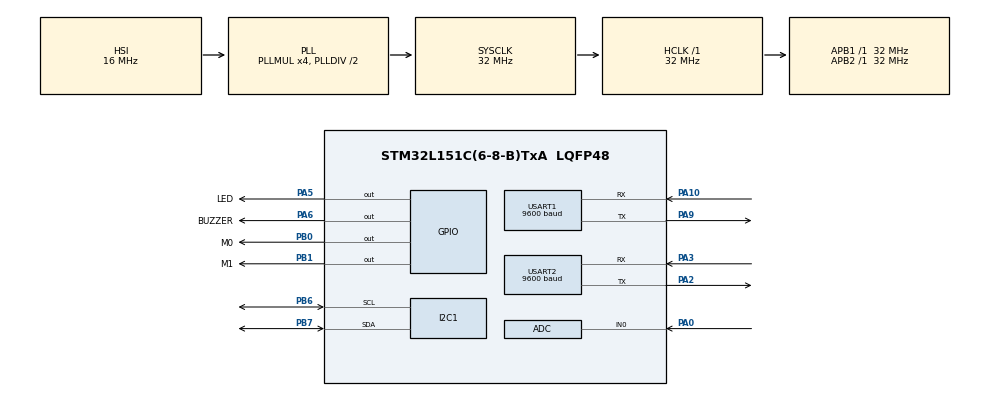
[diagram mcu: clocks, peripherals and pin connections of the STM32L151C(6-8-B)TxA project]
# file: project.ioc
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ADC.Channel-0\#ChannelRegularConversion=ADC_CHANNEL_0
ADC.NbrOfConversionFlag=1
ADC.Rank-0\#ChannelRegularConversion=1
ADC.SamplingTime-0\#ChannelRegularConversion=ADC_SAMPLETIME_4CYCLES
I2C1.I2C_Mode=I2C_Fast
Mcu.Family=STM32L1
Mcu.Name=STM32L151C(6-8-B)TxA
Mcu.Package=LQFP48
NVIC.ADC1_IRQn=true\:0\:0\:false\:false\:true\:true\:true\:true
NVIC.I2C1_ER_IRQn=true\:0\:0\:false\:false\:true\:true\:true\:true
NVIC.I2C1_EV_IRQn=true\:0\:0\:false\:false\:true\:true\:true\:true
NVIC.PriorityGroup=NVIC_PRIORITYGROUP_4
NVIC.TIM2_IRQn=true\:0\:0\:false\:false\:true\:true\:true\:true
NVIC.USART1_IRQn=true\:0\:0\:false\:false\:true\:true\:true\:true
NVIC.USART2_IRQn=true\:0\:0\:false\:false\:true\:true\:true\:true
PA0-WKUP1.Mode=IN0
PA0-WKUP1.Signal=ADC_IN0
PA10.Mode=Asynchronous
PA10.Signal=USART1_RX
PA13.Mode=Serial_Wire
PA13.Signal=SYS_JTMS-SWDIO
PA14.Mode=Serial_Wire
PA14.Signal=SYS_JTCK-SWCLK
PA2.Mode=Asynchronous
PA2.Signal=USART2_TX
PA3.Mode=Asynchronous
PA3.Signal=USART2_RX
PA5.GPIO_Label=LED
PA5.Signal=GPIO_Output
PA6.GPIO_Label=BUZZER
PA6.Signal=GPIO_Output
PA9.Mode=Asynchronous
PA9.Signal=USART1_TX
PB0.GPIO_Label=M0
PB0.Signal=GPIO_Output
PB1.GPIO_Label=M1
PB1.Signal=GPIO_Output
PB6.Mode=I2C
PB6.Signal=I2C1_SCL
PB7.Mode=I2C
PB7.Signal=I2C1_SDA
PH0-OSC_IN.Mode=HSE-External-Oscillator
PH0-OSC_IN.Signal=RCC_OSC_IN
PH1-OSC_OUT.Mode=HSE-External-Oscillator
PH1-OSC_OUT.Signal=RCC_OSC_OUT
ProjectManager.HeapSize=0x200
ProjectManager.StackSize=0x400
ProjectManager.TargetToolchain=STM32CubeIDE
RCC.48MHZClocksFreq_Value=32000000
RCC.AHBFreq_Value=32000000
RCC.APB1Freq_Value=32000000
RCC.APB1TimFreq_Value=32000000
RCC.APB2Freq_Value=32000000
RCC.APB2TimFreq_Value=32000000
RCC.HCLKFreq_Value=32000000
RCC.HSE_VALUE=24000000
RCC.HSI_VALUE=16000000
RCC.LSE_VALUE=32768
RCC.MSI_VALUE=2097000
RCC.PLLMUL=RCC_PLL_MUL4
RCC.SYSCLKFreq_VALUE=32000000
RCC.SYSCLKSource=RCC_SYSCLKSOURCE_PLLCLK
RCC.VCOOutputFreq_Value=64000000
TIM2.Period=7
TIM2.Prescaler=3999
USART1.BaudRate=9600
USART1.VirtualMode=VM_ASYNC
USART2.BaudRate=9600
USART2.VirtualMode=VM_ASYNC
VP_TIM2_VS_ClockSourceINT.Mode=Internal
board=custom

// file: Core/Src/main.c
/* USER CODE BEGIN Header */
/**
  ******************************************************************************
  * @file           : main.c
  * @brief          : Main program body
  ******************************************************************************
  * @attention
  *
  * Copyright (c) 2024 STMicroelectronics.
  * All rights reserved.
  *
  * This software is licensed under terms that can be found in the LICENSE file
  * in the root directory of this software component.
  * If no LICENSE file comes with this software, it is provided AS-IS.
  *
  ******************************************************************************
  */
/* USER CODE END Header */
#include "main.h"

/* USER CODE BEGIN Includes */
#include "global.h"
#include "software_timer.h"
#include "scheduler.h"
#include "mpu6050.h"
#include "gps.h"
#include "fsm_start.h"
#include "fsm_find_device.h"
#include "fsm_control_buzzer.h"
#include "fsm_handle_data.h"
#include "fsm_send_data.h"
//#include "i2c.h"
/* USER CODE END Includes */

ADC_HandleTypeDef hadc;

I2C_HandleTypeDef hi2c1;

TIM_HandleTypeDef htim2;

UART_HandleTypeDef huart1;
UART_HandleTypeDef huart2;

void SystemClock_Config(void);
static void MX_GPIO_Init(void);
static void MX_ADC_Init(void);
static void MX_I2C1_Init(void);
static void MX_TIM2_Init(void);
static void MX_USART1_UART_Init(void);
static void MX_USART2_UART_Init(void);

/* USER CODE BEGIN 0 */

uint8_t		u8_flag_10ms = 0;
#define BUFFER_SIZE 512
char gpsBuffer[BUFFER_SIZE];
char gpggaBuffer[BUFFER_SIZE];
char gnvtgBuffer[BUFFER_SIZE];
char outputBuffer[BUFFER_SIZE];
//float latitude = 6.0, longitude = 6.0;
float longitude = 0;  // Ví dụ giá trị kinh độ
float latitude = 0;
float velocity = 0.2;
char id[6] = "010001";
void sendTestMessage() {
    char testMessage[] = "!Test message#\r\n";
    HAL_UART_Transmit(&huart1, (uint8_t*)testMessage, sizeof(testMessage), HAL_MAX_DELAY);
}
void sendTestMessage1() {
    char testMessage[] = "!aaaaaaaaaaaaa#\r\n";
    HAL_UART_Transmit(&huart1, (uint8_t*)testMessage, sizeof(testMessage), HAL_MAX_DELAY);
}

//void filterGNVTG(const char* input) {
//    const char* gnvtgStart = strstr(input, "$GNVTG"); // Tìm câu $GPGGA
//    if (gnvtgStart != NULL) {
//        const char* gnvtgEnd = strstr(gnvtgStart, "\r\n"); // Tìm dấu kết thúc câu
//        if (gnvtgEnd != NULL) {
//            size_t gnvtgLength = gnvtgEnd - gnvtgStart + 2; // �?ộ dài câu $GPGGA
//            strncpy(gnvtgBuffer, gnvtgStart, gnvtgLength); // Sao chép câu $GPGGA
//            gnvtgBuffer[gnvtgLength] = '\0'; // Thêm ký tự kết thúc chuỗi
//        }
//    }
//}

void filterGPGGA(const char* input) {
    const char* gpggaStart = strstr(input, "$GNGGA"); // Tìm câu $GPGGA
    if (gpggaStart != NULL) {
        const char* gpggaEnd = strstr(gpggaStart, "\r\n"); // Tìm dấu kết thúc câu
        if (gpggaEnd != NULL) {
            size_t gpggaLength = gpggaEnd - gpggaStart + 2; // �?ộ dài câu $GPGGA
            strncpy(gpggaBuffer, gpggaStart, gpggaLength); // Sao chép câu $GPGGA
            gpggaBuffer[gpggaLength] = '\0'; // Thêm ký tự kết thúc chuỗi
        }
    }
}

//void parseVData(char* nmea){
//	char* token;
//	token = strstr(nmea, "$GNVTG");
//	if (token != NULL){
//		token = strtok(token, ","); // B�? qua "$GNVTG"
//		token = strtok(NULL, ",");
//		token = strtok(NULL, ",");
//		token = strtok(NULL, ",");
//		token = strtok(NULL, ",");
//		token = strtok(NULL, ",");
//		token = strtok(NULL, ",");
//
//		if (token != NULL){
//			float speed = atof(token);
//			if (speed == 0) {
//				velocity = -1;
//			}else {
//			velocity = speed / 3.6f;
//			}
//		}
//	}
//
//
//}
void parseGPSData(char* nmea) {
    char* token;

    // Tìm chuỗi $GPGGA
    token = strstr(nmea, "$GNGGA");
//    token =  nmea;
    if (token != NULL) {
        token = strtok(token, ","); // B�? qua "$GPGGA"
        token = strtok(NULL, ","); // B�? qua th�?i gian
        token = strtok(NULL, ","); // Lấy giá trị vĩ độ (latitude)

        if (token != NULL) {
            float rawLatitude = atof(token); // Lấy giá trị DDMM.MMMM
            float degrees = (int)(rawLatitude / 100); // Lấy phần độ
            float minutes = rawLatitude - (degrees * 100); // Lấy phần phút
            latitude = degrees + (minutes / 60.0); // Chuyển sang decimal degrees

            token = strtok(NULL, ","); // Lấy hướng vĩ độ (N/S)
            if (token != NULL && *token == 'S') {
                latitude = -latitude; // Nếu là 'S', đổi sang giá trị âm
            }
        }

        token = strtok(NULL, ","); // Lấy giá trị kinh độ (longitude)
        if (token != NULL) {
            float rawLongitude = atof(token); // Lấy giá trị DDMM.MMMM
            float degrees = (int)(rawLongitude / 100); // Lấy phần độ
            float minutes = rawLongitude - (degrees * 100); // Lấy phần phút
            longitude = degrees + (minutes / 60.0); // Chuyển sang decimal degrees
            token = strtok(NULL, ","); // Lấy hướng kinh độ (E/W)

            if (token != NULL && *token == 'W') {
                longitude = -longitude; // Nếu là 'W', đổi sang giá trị âm
            }
        }
    }
}

void sendCoordinates() {
    if (latitude != 0.0 && longitude != 0.0) {
    	uint8_tToChar(id, id_device);
        snprintf(outputBuffer, sizeof(outputBuffer), "!ID:%s:GPS:%.6f:%.6f:V:%.4f#\r\n", id, longitude, latitude,velocity);
        HAL_UART_Transmit_IT(&huart1, (uint8_t*)outputBuffer, strlen(outputBuffer));
    } else {
        snprintf(outputBuffer, sizeof(outputBuffer), "!Invalid GPS Data#\r\n");
        HAL_UART_Transmit_IT(&huart1, (uint8_t*)outputBuffer, strlen(outputBuffer));
    }
    //memset(outputBuffer, 0, sizeof(outputBuffer));
}

void HAL_UART_RxCpltCallback(UART_HandleTypeDef *huart) {
	if(huart->Instance == USART1) {
		if (temp != 13) {
			if (buffer_index < MAX_BUFFER_SIZE - 1) {
				buffer[buffer_index++] = temp;
			} else {
				buffer_index = 0;
				buffer_flag = 1;
			}
		} else {
			buffer[buffer_index] = '\0';
			buffer_index = 0;
			buffer_flag = 1;
		}
		HAL_UART_Receive_IT(&huart1, &temp, 1);
	}
	if (huart->Instance == USART2) {
		filterGPGGA(gpsBuffer);
		parseGPSData(gpggaBuffer);

//		filterGNVTG(gpsBuffer);
//		parseVData(gnvtgBuffer);
//		sendCoordinates();
		HAL_UART_Receive_IT(&huart2, (uint8_t*)gpsBuffer, BUFFER_SIZE);
	}
}

void fsm_start_task(void) {
	fsm_start(&huart1, buffer);
}

void fsm_find_device_task(void) {
	fsm_find_device(&huart1);
}

void fsm_control_buzzer_task(void) {
	fsm_control_buzzer(&huart1);
}

void fsm_handle_data_task(void) {
	handleBatteryData(&hadc);
	handleSensorData(&hi2c1);
}

void fsm_send_data_task(void) {
	if (handle_data_flag == true) {
		send_data(&huart1);
	}
}

//MPU6050_t MPU6050;

//void handleSensorData(void) {
//	MPU6050_Read_All(&hi2c1, &MPU6050);
//	ax = MPU6050.Ax;
//	ay = MPU6050.Ay;
//	az = MPU6050.Az;
//	SENSOR_flag = false;
//}
//
//void handleBatteryData(void) {
//	ADC_value = HAL_ADC_GetValue(&hadc);
//    BATTERY_flag = false;
//}

/* USER CODE END 0 */

int main(void)
{

  /* MCU Configuration--------------------------------------------------------*/

  /* Reset of all peripherals, Initializes the Flash interface and the Systick. */
  HAL_Init();

  /* Configure the system clock */
  SystemClock_Config();

  /* Initialize all configured peripherals */
  MX_GPIO_Init();
  MX_ADC_Init();
  MX_I2C1_Init();
  MX_TIM2_Init();
  MX_USART1_UART_Init();
  MX_USART2_UART_Init();
  /* USER CODE BEGIN 2 */
  HAL_TIM_Base_Start_IT(&htim2);
  HAL_GPIO_WritePin(M0_GPIO_Port, M0_Pin, RESET);
  HAL_GPIO_WritePin(M1_GPIO_Port, M1_Pin, RESET);
  HAL_GPIO_WritePin(BUZZER_GPIO_Port, BUZZER_Pin, SET);
  HAL_GPIO_WritePin(LED_GPIO_Port, LED_Pin, SET);
  HAL_UART_Receive_IT(&huart1, &temp, 1);
  HAL_UART_Receive_IT(&huart2, (uint8_t*)gpsBuffer, BUFFER_SIZE);
  MPU6050_Init(&hi2c1);

  /* USER CODE END 2 */

  /* Infinite loop */
  /* USER CODE BEGIN WHILE */
  SCH_Add_Task(fsm_start_task, 1, 1);
  SCH_Add_Task(fsm_find_device_task, 2, 1);
  SCH_Add_Task(fsm_control_buzzer_task, 3, 1);
  SCH_Add_Task(fsm_handle_data_task, 5, 1);
//  SCH_Add_Task(fsm_send_data_task, 6, 10000);
  setTimer0(1000);
  setTimer1(5000);
  while (1)
  {
	  if (handle_GPS_data_flag == true) {
		  if (u8_flag_10ms){
			u8_flag_10ms = 0;
			parseGPSData(gpggaBuffer);
//			parseVData(gnvtgBuffer);
			sendCoordinates();
		  }
	  }
	  if (timer1_flag == 1) {
		  SENSOR_flag = true;
		  BATTERY_flag = true;
		  setTimer1(5000);
	  }

	  if (start_idle_flag) {
		  start_idle_flag = false;
		  SCH_Delete_Task(fsm_start_task);
	  }
	  SCH_Dispatch_Tasks();
    /* USER CODE END WHILE */

  }
}

void SystemClock_Config(void)
{
  RCC_OscInitTypeDef RCC_OscInitStruct = {0};
  RCC_ClkInitTypeDef RCC_ClkInitStruct = {0};

  /** Configure the main internal regulator output voltage
  */
  __HAL_PWR_VOLTAGESCALING_CONFIG(PWR_REGULATOR_VOLTAGE_SCALE1);

  /** Initializes the RCC Oscillators according to the specified parameters
  * in the RCC_OscInitTypeDef structure.
  */
  RCC_OscInitStruct.OscillatorType = RCC_OSCILLATORTYPE_HSI;
  RCC_OscInitStruct.HSIState = RCC_HSI_ON;
  RCC_OscInitStruct.HSICalibrationValue = RCC_HSICALIBRATION_DEFAULT;
  RCC_OscInitStruct.PLL.PLLState = RCC_PLL_ON;
  RCC_OscInitStruct.PLL.PLLSource = RCC_PLLSOURCE_HSI;
  RCC_OscInitStruct.PLL.PLLMUL = RCC_PLL_MUL4;
  RCC_OscInitStruct.PLL.PLLDIV = RCC_PLL_DIV2;
  if (HAL_RCC_OscConfig(&RCC_OscInitStruct) != HAL_OK)
  {
    Error_Handler();
  }

  /** Initializes the CPU, AHB and APB buses clocks
  */
  RCC_ClkInitStruct.ClockType = RCC_CLOCKTYPE_HCLK|RCC_CLOCKTYPE_SYSCLK
                              |RCC_CLOCKTYPE_PCLK1|RCC_CLOCKTYPE_PCLK2;
  RCC_ClkInitStruct.SYSCLKSource = RCC_SYSCLKSOURCE_PLLCLK;
  RCC_ClkInitStruct.AHBCLKDivider = RCC_SYSCLK_DIV1;
  RCC_ClkInitStruct.APB1CLKDivider = RCC_HCLK_DIV1;
  RCC_ClkInitStruct.APB2CLKDivider = RCC_HCLK_DIV1;

  if (HAL_RCC_ClockConfig(&RCC_ClkInitStruct, FLASH_LATENCY_1) != HAL_OK)
  {
    Error_Handler();
  }
}

static void MX_ADC_Init(void)
{

  ADC_ChannelConfTypeDef sConfig = {0};

  /** Configure the global features of the ADC (Clock, Resolution, Data Alignment and number of conversion)
  */
  hadc.Instance = ADC1;
  hadc.Init.ClockPrescaler = ADC_CLOCK_ASYNC_DIV1;
  hadc.Init.Resolution = ADC_RESOLUTION_12B;
  hadc.Init.DataAlign = ADC_DATAALIGN_RIGHT;
  hadc.Init.ScanConvMode = ADC_SCAN_DISABLE;
  hadc.Init.EOCSelection = ADC_EOC_SEQ_CONV;
  hadc.Init.LowPowerAutoWait = ADC_AUTOWAIT_DISABLE;
  hadc.Init.LowPowerAutoPowerOff = ADC_AUTOPOWEROFF_DISABLE;
  hadc.Init.ChannelsBank = ADC_CHANNELS_BANK_A;
  hadc.Init.ContinuousConvMode = DISABLE;
  hadc.Init.NbrOfConversion = 1;
  hadc.Init.DiscontinuousConvMode = DISABLE;
  hadc.Init.ExternalTrigConv = ADC_SOFTWARE_START;
  hadc.Init.ExternalTrigConvEdge = ADC_EXTERNALTRIGCONVEDGE_NONE;
  hadc.Init.DMAContinuousRequests = DISABLE;
  if (HAL_ADC_Init(&hadc) != HAL_OK)
  {
    Error_Handler();
  }

  /** Configure for the selected ADC regular channel its corresponding rank in the sequencer and its sample time.
  */
  sConfig.Channel = ADC_CHANNEL_0;
  sConfig.Rank = ADC_REGULAR_RANK_1;
  sConfig.SamplingTime = ADC_SAMPLETIME_4CYCLES;
  if (HAL_ADC_ConfigChannel(&hadc, &sConfig) != HAL_OK)
  {
    Error_Handler();
  }

}

static void MX_I2C1_Init(void)
{

  hi2c1.Instance = I2C1;
  hi2c1.Init.ClockSpeed = 400000;
  hi2c1.Init.DutyCycle = I2C_DUTYCYCLE_2;
  hi2c1.Init.OwnAddress1 = 0;
  hi2c1.Init.AddressingMode = I2C_ADDRESSINGMODE_7BIT;
  hi2c1.Init.DualAddressMode = I2C_DUALADDRESS_DISABLE;
  hi2c1.Init.OwnAddress2 = 0;
  hi2c1.Init.GeneralCallMode = I2C_GENERALCALL_DISABLE;
  hi2c1.Init.NoStretchMode = I2C_NOSTRETCH_DISABLE;
  if (HAL_I2C_Init(&hi2c1) != HAL_OK)
  {
    Error_Handler();
  }

}

static void MX_TIM2_Init(void)
{

  TIM_ClockConfigTypeDef sClockSourceConfig = {0};
  TIM_MasterConfigTypeDef sMasterConfig = {0};

  htim2.Instance = TIM2;
  htim2.Init.Prescaler = 3999;
  htim2.Init.CounterMode = TIM_COUNTERMODE_UP;
  htim2.Init.Period = 7;
  htim2.Init.ClockDivision = TIM_CLOCKDIVISION_DIV1;
  htim2.Init.AutoReloadPreload = TIM_AUTORELOAD_PRELOAD_DISABLE;
  if (HAL_TIM_Base_Init(&htim2) != HAL_OK)
  {
    Error_Handler();
  }
  sClockSourceConfig.ClockSource = TIM_CLOCKSOURCE_INTERNAL;
  if (HAL_TIM_ConfigClockSource(&htim2, &sClockSourceConfig) != HAL_OK)
  {
    Error_Handler();
  }
  sMasterConfig.MasterOutputTrigger = TIM_TRGO_RESET;
  sMasterConfig.MasterSlaveMode = TIM_MASTERSLAVEMODE_DISABLE;
  if (HAL_TIMEx_MasterConfigSynchronization(&htim2, &sMasterConfig) != HAL_OK)
  {
    Error_Handler();
  }

}

static void MX_USART1_UART_Init(void)
{

  huart1.Instance = USART1;
  huart1.Init.BaudRate = 9600;
  huart1.Init.WordLength = UART_WORDLENGTH_8B;
  huart1.Init.StopBits = UART_STOPBITS_1;
  huart1.Init.Parity = UART_PARITY_NONE;
  huart1.Init.Mode = UART_MODE_TX_RX;
  huart1.Init.HwFlowCtl = UART_HWCONTROL_NONE;
  huart1.Init.OverSampling = UART_OVERSAMPLING_16;
  if (HAL_UART_Init(&huart1) != HAL_OK)
  {
    Error_Handler();
  }

}

static void MX_USART2_UART_Init(void)
{

  huart2.Instance = USART2;
  huart2.Init.BaudRate = 9600;
  huart2.Init.WordLength = UART_WORDLENGTH_8B;
  huart2.Init.StopBits = UART_STOPBITS_1;
  huart2.Init.Parity = UART_PARITY_NONE;
  huart2.Init.Mode = UART_MODE_TX_RX;
  huart2.Init.HwFlowCtl = UART_HWCONTROL_NONE;
  huart2.Init.OverSampling = UART_OVERSAMPLING_16;
  if (HAL_UART_Init(&huart2) != HAL_OK)
  {
    Error_Handler();
  }

}

static void MX_GPIO_Init(void)
{
  GPIO_InitTypeDef GPIO_InitStruct = {0};

  /* GPIO Ports Clock Enable */
  __HAL_RCC_GPIOH_CLK_ENABLE();
  __HAL_RCC_GPIOA_CLK_ENABLE();
  __HAL_RCC_GPIOB_CLK_ENABLE();

  /*Configure GPIO pin Output Level */
  HAL_GPIO_WritePin(GPIOA, LED_Pin|BUZZER_Pin, GPIO_PIN_RESET);

  /*Configure GPIO pin Output Level */
  HAL_GPIO_WritePin(GPIOB, M0_Pin|M1_Pin, GPIO_PIN_RESET);

  /*Configure GPIO pins : LED_Pin BUZZER_Pin */
  GPIO_InitStruct.Pin = LED_Pin|BUZZER_Pin;
  GPIO_InitStruct.Mode = GPIO_MODE_OUTPUT_PP;
  GPIO_InitStruct.Pull = GPIO_NOPULL;
  GPIO_InitStruct.Speed = GPIO_SPEED_FREQ_LOW;
  HAL_GPIO_Init(GPIOA, &GPIO_InitStruct);

  /*Configure GPIO pins : M0_Pin M1_Pin */
  GPIO_InitStruct.Pin = M0_Pin|M1_Pin;
  GPIO_InitStruct.Mode = GPIO_MODE_OUTPUT_PP;
  GPIO_InitStruct.Pull = GPIO_NOPULL;
  GPIO_InitStruct.Speed = GPIO_SPEED_FREQ_LOW;
  HAL_GPIO_Init(GPIOB, &GPIO_InitStruct);

}

/* USER CODE BEGIN 4 */
//void HAL_TIM_PeriodElapsedCallback(TIM_HandleTypeDef *htim){
//	SCH_Update();
//	timerRun();
//}

int counter_s = 0;
int counter_gps = 0;
void HAL_TIM_PeriodElapsedCallback(TIM_HandleTypeDef *htim){
	SCH_Update();
	timerRun();
	if(htim->Instance==TIM2) {
		if (counter_gps >= 5000) {
			counter_gps = 0;
			u8_flag_10ms = 1;
		}
		if (counter_s >= 5123) {
			counter_s = 0;
			handleSensorData(&hi2c1);
			handleBatteryData(&hadc);
			fsm_send_data_task();
		}
		counter_gps++;
		counter_s++;
	}
}
/* USER CODE END 4 */

void Error_Handler(void)
{
  __disable_irq();
  while (1)
  {
  }
}
